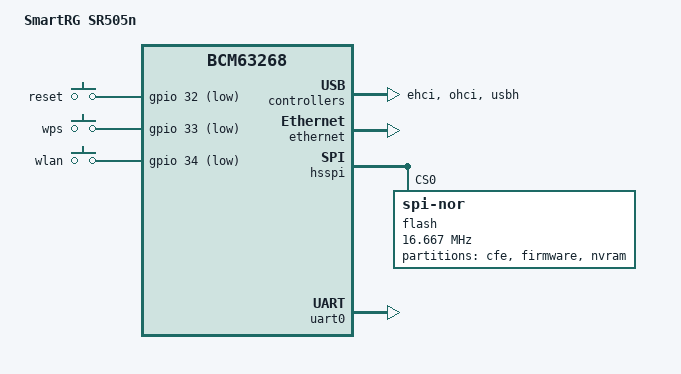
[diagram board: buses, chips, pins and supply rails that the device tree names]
// SPDX-License-Identifier: GPL-2.0-or-later

#include "bcm63268.dtsi"

/ {
	model = "SmartRG SR505n";
	compatible = "smartrg,sr505n", "brcm,bcm63168", "brcm,bcm63268";

	aliases {
		led-boot = &led_power_green;
		led-failsafe = &led_power_red;
		led-running = &led_power_green;
		led-upgrade = &led_power_green;
	};

	keys {
		compatible = "gpio-keys-polled";
		poll-interval = <100>;
		
		reset {
			label = "reset";
			gpios = <&gpio 32 GPIO_ACTIVE_LOW>;
			linux,code = <KEY_RESTART>;
			debounce-interval = <60>;
		};

		wps {
			label = "wps";
			gpios = <&gpio 33 GPIO_ACTIVE_LOW>;
			linux,code = <KEY_WPS_BUTTON>;
			debounce-interval = <60>;
		};

		wlan {
			label = "wlan";
			gpios = <&gpio 34 GPIO_ACTIVE_LOW>;
   			linux,code = <KEY_WLAN>;
			debounce-interval = <60>;
		};
	};
};

&ehci {
	status = "okay";
};

&ethernet {
	status = "okay";

	nvmem-cells = <&macaddr_cfe_6a0>;
	nvmem-cell-names = "mac-address";
};

&hsspi {
	status = "okay";

	flash@0 {
		compatible = "jedec,spi-nor";
		spi-max-frequency = <16666667>;
		spi-tx-bus-width = <2>;
		spi-rx-bus-width = <2>;
		reg = <0>;

		#address-cells = <1>;
		#size-cells = <1>;

		partitions {
			compatible = "fixed-partitions";
			#address-cells = <1>;
			#size-cells = <1>;

			partition@0 {
				label = "cfe";
				reg = <0x000000 0x010000>;
				read-only;

				nvmem-layout {
					compatible = "fixed-layout";
					#address-cells = <1>;
					#size-cells = <1>;

					macaddr_cfe_6a0: macaddr@6a0 {
						reg = <0x6a0 0x6>;
					};
				};
			};

			partition@10000 {
				compatible = "brcm,bcm963xx-imagetag";
				label = "firmware";
				reg = <0x010000 0xfd0000>;
			};

			partition@fe0000 {
				label = "nvram";
				reg = <0xfe0000 0x020000>;
			};
		};
	};
};

&leds {
	status = "okay";

	pinctrl-names = "default";
	pinctrl-0 = <&pinctrl_leds>;

	wps_green@1 {
		reg = <1>;
		active-low;
		function = LED_FUNCTION_WPS;
		color = <LED_COLOR_ID_GREEN>;
	};

	inet_green@8 {
		reg = <8>;
		active-low;
		label = "green:inet";
	};

	lan2_green@9 {
		/* EPHY1 Act */
		reg = <9>;
		brcm,hardware-controlled;
	};

	lan3_green@10 {
		/* EPHY2 Act */
		reg = <10>;
		brcm,hardware-controlled;
	};

	lan4_green@11 {
		/* EPHY3 Act */
		reg = <11>;
		brcm,hardware-controlled;
	};

	lan1_green@12 {
		/* GPHY0 Act */
		reg = <12>;
		brcm,hardware-controlled;
	};

	dsl_green@14 {
		reg = <14>;
		active-low;
		label = "green:dsl";
	};

	inet_red@15 {
		reg = <15>;
		active-low;
		label = "red:inet";
	};

	usb_green@16 {
		reg = <16>;
		active-low;
		function = LED_FUNCTION_USB;
		color = <LED_COLOR_ID_GREEN>;
	};

	led_power_green: power_green@20 {
		reg = <20>;
		active-low;
		function = LED_FUNCTION_POWER;
		color = <LED_COLOR_ID_GREEN>;
	};

	led_power_red: power_red@21 {
		reg = <21>;
		active-low;
		function = LED_FUNCTION_POWER;
		color = <LED_COLOR_ID_RED>;
		panic-indicator;
	};
};

&pinctrl {
	pinctrl_leds: leds {
		function = "led";
		pins = "gpio1", "gpio8", 
			"gpio9", "gpio10",
			"gpio11", "gpio12",
			"gpio14", "gpio15",
			"gpio16", "gpio20",
			"gpio21";
	};
};

&ohci {
	status = "okay";
};

&switch0 {
	ports {
		port@0 {
			reg = <0>;
			label = "lan2";

			phy-handle = <&phy1>;
			phy-mode = "mii";
		};

		port@1 {
			reg = <1>;
			label = "lan3";

			phy-handle = <&phy2>;
			phy-mode = "mii";
		};

		port@2 {
			reg = <2>;
			label = "lan4";

			phy-handle = <&phy3>;
			phy-mode = "mii";
		};

		port@3 {
			reg = <3>;
			label = "lan1";

			phy-handle = <&phy4>;
			phy-mode = "gmii";
		};
	};
};

&uart0 {
	status = "okay";
};

&usbh {
	status = "okay";
};
